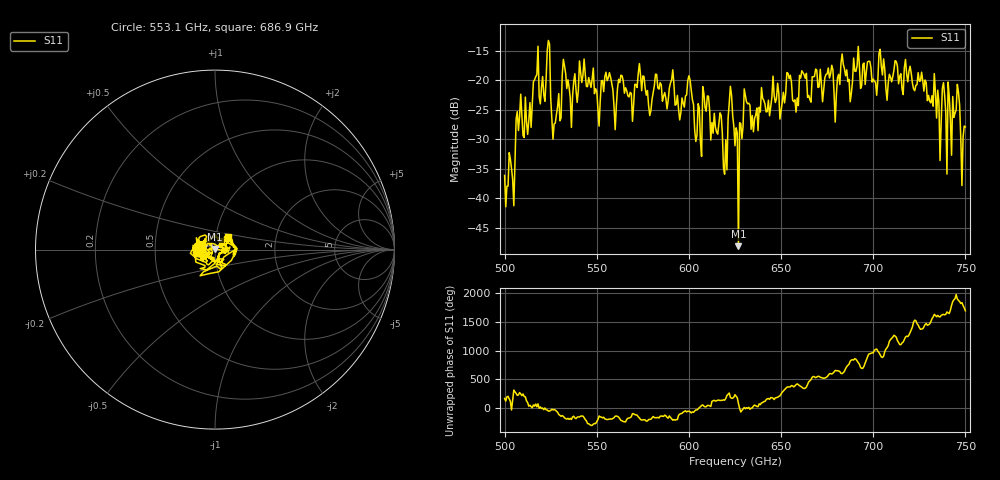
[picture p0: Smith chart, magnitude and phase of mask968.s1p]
!Created with skrf (http://scikit-rf.org).
# GHz S MA R 50.0
!freq magS11 angS11
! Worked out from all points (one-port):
!   401 points, 500 GHz to 750 GHz, reference 50 ohm
!   lowest |S11| = -48.2 dB at 626.9 GHz (marker M1), VSWR 1.01, Z = 50.1 + j0.385 ohm
!   |S11| at or under -10 dB: start of sweep to end of sweep
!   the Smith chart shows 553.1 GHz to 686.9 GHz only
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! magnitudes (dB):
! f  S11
! 500 GHz  -36.1
! 504.4 GHz  -36.8
! 507.5 GHz  -28.5
! 513.8 GHz  -23.8
! 516.9 GHz  -19.4
! 520.6 GHz  -19.4
! 523.8 GHz  -13.2
! 526.9 GHz  -27.4
! 531.2 GHz  -19.2
! 550.6 GHz  -24.8
! 556.2 GHz  -19.6
! 560 GHz  -28.4
! 562.5 GHz  -20.4
! 593.8 GHz  -22.6
! 600.6 GHz  -19.9
! 605.6 GHz  -24.7
! 608.8 GHz  -24.6
! 619.4 GHz  -35.9
! 622.5 GHz  -21.0
! 625 GHz  -31.1
! 626.9 GHz  -48.2
! 631.2 GHz  -23.7
! 635 GHz  -28.7
! 656.2 GHz  -23.4
! 687.5 GHz  -23.6
! 690.6 GHz  -18.5
! 718.8 GHz  -20.2
! 750 GHz  -27.9
